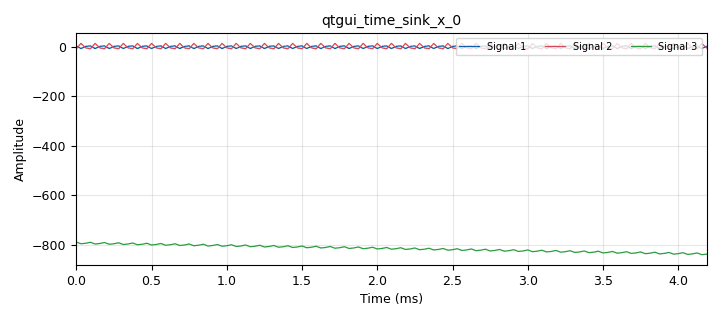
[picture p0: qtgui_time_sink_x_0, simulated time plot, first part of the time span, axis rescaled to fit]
options:
  parameters:
    author: Omar Tíjaro
    copyright: UIS
    description: AAA
    generate_options: qt_gui
    id: first_lab
    output_language: python
    title: First_lab
  states: {}

blocks:
- name: samp_rate
  id: variable
  parameters:
    value: '32000'
  states: {}
- name: blocks_throttle_0
  id: blocks_throttle
  parameters:
    samples_per_second: samp_rate
    type: float
  states: {}
- name: blocks_vector_source_x_0
  id: blocks_vector_source_x
  parameters:
    repeat: 'True'
    type: float
    vector: (2, 4, -7)
  states: {}
- name: epy_block_0
  id: epy_block
  parameters:
    _source_code: |
      """
      Embedded Python Blocks:

      Each time this file is saved, GRC will instantiate the first class it finds
      to get ports and parameters of your block. The arguments to __init__  will
      be the parameters. All of them are required to have default values!
      """

      import numpy as np
      from gnuradio import gr


      class blk(gr.sync_block):  # other base classes are basic_block, decim_block, interp_block
          """Embedded Python Block example - a simple multiply const"""

          def __init__(self, example_param=1.0):  # only default arguments here
              """arguments to this function show up as parameters in GRC"""
              gr.sync_block.__init__(
                  self,
                  name='e_multiply',   # will show up in GRC
                  in_sig=[np.float32],
                  out_sig=[np.float32]
              )
              # if an attribute with the same name as a parameter is found,
              # a callback is registered (properties work, too).
              self.example_param = example_param

          def work(self, input_items, output_items):
              """example: multiply with constant"""
              x=input_items[0]
              y=output_items[0]
              y[:] = x * self.example_param
              #output_items[0][:] = input_items[0] * self.example_param
              return len(y)
    example_param: '-2'
  states: {}
- name: epy_block_1
  id: epy_block
  parameters:
    _source_code: |
      """
      Embedded Python Blocks:

      Each time this file is saved, GRC will instantiate the first class it finds
      to get ports and parameters of your block. The arguments to __init__  will
      be the parameters. All of them are required to have default values!
      """

      import numpy as np
      from gnuradio import gr


      class blk(gr.sync_block):  # other base classes are basic_block, decim_block, interp_block
          """Embedded Python Block example - a simple multiply const"""

          def __init__(self):  # only default arguments here
              """arguments to this function show up as parameters in GRC"""
              gr.sync_block.__init__(
                  self,
                  name='E_cum',   # will show up in GRC
                  in_sig=[np.float32],
                  out_sig=[np.float32]
              )
              # if an attribute with the same name as a parameter is found,
              # a callback is registered (properties work, too).

          def work(self, input_items, output_items):
              """example: Cummulative block"""
              x=input_items[0]
              y=output_items[0]
              y[:] = np.cumsum(x)
              return len(y)
  states: {}
- name: qtgui_time_sink_x_0
  id: qtgui_time_sink_x
  parameters:
    nconnections: '3'
    size: '1024'
    srate: samp_rate
    type: float
    ymax: '20'
    ymin: '-20'
  states: {}

connections:
- [blocks_throttle_0, '0', epy_block_0, '0']
- [blocks_throttle_0, '0', epy_block_1, '0']
- [blocks_throttle_0, '0', qtgui_time_sink_x_0, '0']
- [blocks_vector_source_x_0, '0', blocks_throttle_0, '0']
- [epy_block_0, '0', qtgui_time_sink_x_0, '1']
- [epy_block_1, '0', qtgui_time_sink_x_0, '2']

metadata:
  file_format: 1
